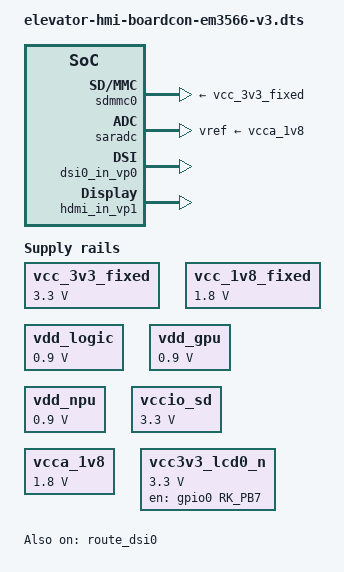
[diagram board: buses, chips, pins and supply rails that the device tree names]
// SPDX-License-Identifier: (GPL-2.0 OR MIT)
/*
 * Elevator HMI — Boardcon EM3566 v3 reference + LMT101SX006C (JD9365) on MIPI-DSI0.
 *
 * Extends the Rockchip BSP baseline:
 *   arch/arm64/boot/dts/rockchip/rk3566-evb2-lp4x-v10-linux.dts
 * from the linux-rockchip_6.1 kernel (SRCREV in meta-rockchip linux-rockchip_6.1.bb
 * at the kas-pinned commit).
 *
 * Panel overlay: elevator-hmi-lmt101sx006c-panel.dtsi (replaces stock EVB
 * simple-panel-dsi child under &dsi0).
 */

/dts-v1/;

#include "rk3566-evb2-lp4x-v10-linux.dts"
#include "elevator-hmi-lmt101sx006c-panel.dtsi"
#include <dt-bindings/gpio/gpio.h>
#include <dt-bindings/pinctrl/rockchip.h>

/*
 * TASK-120 / TASK-119 / TASK-133: CM3566 has no functioning RK809 at 0x20 on this bring-up.
 * rk3568-evb.dtsi still defines PMIC regulators — delete the nodes we replace with board
 * `regulator-fixed` rails. **TASK-133:** restore **`/delete-node/ LDO_REG7`** so
 * **`vcca_1v8`** is never bound to a ghost PMIC rail (fixes DSI **`-517`** defer loops
 * seen after TASK-130). Board-scope **`vcca_1v8`** below matches TASK-129.
 */
&rk809 {
	regulators {
		/delete-node/ DCDC_REG1;
		/delete-node/ DCDC_REG2;
		/delete-node/ DCDC_REG4;
		/delete-node/ LDO_REG5;
		/delete-node/ LDO_REG7;
	};
};

/*
 * TASK-117: rk3568-linux.dtsi hardcodes root=PARTUUID=614e0000-0000; WIC rootfs is
 * /dev/mmcblk0p2. Override chosen.bootargs in this board DTB (kernel uses DT chosen).
 */
/ {
	chosen {
		bootargs = "earlycon=uart8250,mmio32,0xfe660000 console=ttyFIQ0 console=ttyS2,1500000 root=/dev/mmcblk0p2 rw rootfstype=ext4 rootwait";
	};

	/* TASK-119: CM3566 — pmu_io_domains cannot use PMIC supplies. */
	vcc_3v3_fixed: regulator-vcc3v3 {
		compatible = "regulator-fixed";
		regulator-name = "vcc_3v3_fixed";
		regulator-always-on;
		regulator-boot-on;
		regulator-min-microvolt = <3300000>;
		regulator-max-microvolt = <3300000>;
	};

	vcc_1v8_fixed: regulator-vcc1v8 {
		compatible = "regulator-fixed";
		regulator-name = "vcc_1v8_fixed";
		regulator-always-on;
		regulator-boot-on;
		regulator-min-microvolt = <1800000>;
		regulator-max-microvolt = <1800000>;
	};

	/* TASK-120: replace PMIC rails inherited from rk3568-evb (see &rk809 delete-node). */
	vdd_logic: regulator-vdd-logic {
		compatible = "regulator-fixed";
		regulator-name = "vdd_logic";
		regulator-always-on;
		regulator-boot-on;
		regulator-min-microvolt = <900000>;
		regulator-max-microvolt = <900000>;
	};

	vdd_gpu: regulator-vdd-gpu {
		compatible = "regulator-fixed";
		regulator-name = "vdd_gpu";
		regulator-always-on;
		regulator-boot-on;
		regulator-min-microvolt = <900000>;
		regulator-max-microvolt = <900000>;
	};

	vdd_npu: regulator-vdd-npu {
		compatible = "regulator-fixed";
		regulator-name = "vdd_npu";
		regulator-always-on;
		regulator-boot-on;
		regulator-min-microvolt = <900000>;
		regulator-max-microvolt = <900000>;
	};

	vccio_sd: regulator-vccio-sd {
		compatible = "regulator-fixed";
		regulator-name = "vccio_sd";
		regulator-always-on;
		regulator-boot-on;
		regulator-min-microvolt = <3300000>;
		regulator-max-microvolt = <3300000>;
	};

	/* TASK-133: 1.8 V analog / DSI PHY rail — board fixed; PMIC LDO_REG7 deleted above. */
	vcca_1v8: regulator-vcca-1v8 {
		compatible = "regulator-fixed";
		regulator-name = "vcca_1v8";
		regulator-always-on;
		regulator-boot-on;
		regulator-min-microvolt = <1800000>;
		regulator-max-microvolt = <1800000>;
	};
};

&pmu_io_domains {
	status = "okay";
	pmuio1-supply = <&vcc_3v3_fixed>;
	pmuio2-supply = <&vcc_3v3_fixed>;
	vccio1-supply = <&vcc_1v8_fixed>;
	vccio2-supply = <&vcc_1v8_fixed>;
	vccio3-supply = <&vcc_3v3_fixed>;
	vccio4-supply = <&vcc_1v8_fixed>;
	vccio5-supply = <&vcc_3v3_fixed>;
	vccio6-supply = <&vcc_3v3_fixed>;
	vccio7-supply = <&vcc_3v3_fixed>;
};

&vop {
	vop-supply = <&vdd_logic>;
};

&gpu {
	mali-supply = <&vdd_gpu>;
};

&rknpu {
	rknpu-supply = <&vdd_npu>;
};

&rkvenc {
	venc-supply = <&vdd_logic>;
};

&rkvdec {
	vdec-supply = <&vdd_logic>;
};

&dmc {
	center-supply = <&vdd_logic>;
};

/*
 * SD / TF card slot — sdmmc0 is fe2b0000 on RK3566 (fe2c0000 is sdmmc1/SDIO).
 *
 * rk3568-evb.dtsi wires vmmc-supply to the RK809 PMIC rail vcc3v3_sd
 * (SWITCH_REG2). This board has NO functioning RK809 at 0x20 (see the &rk809
 * deletions at the top of this file), so that regulator never appears and the
 * controller sits in "deferred probe pending" forever:
 *     platform fe2b0000.mmc: deferred probe pending
 * The slot is silent, /dev/mmcblk1 never appears, and the HMI video pane shows
 * NO CARD no matter what is inserted. Point vmmc at the board's fixed 3.3 V
 * rail instead. (vqmmc/vccio_sd is already a board regulator-fixed.)
 *
 * sd-uhs-sdr104 is deleted with it: UHS SDR104 requires switching vqmmc from
 * 3.3 V down to 1.8 V, and vccio_sd here is a FIXED 3.3 V supply that cannot.
 * Leaving it advertised makes the core attempt a voltage switch that cannot
 * succeed. High-speed (50 MHz, ~25 MB/s) remains, which is ~20x what the
 * ~1.2 MB/s MJPEG demo clip needs.
 */
&sdmmc0 {
	vmmc-supply = <&vcc_3v3_fixed>;
	vqmmc-supply = <&vccio_sd>;
	/delete-property/ sd-uhs-sdr104;
};

&saradc {
	vref-supply = <&vcca_1v8>;
};

/*
 * EM3566 v3 VCC3V3_LCD (CON1 pins 5/6): PWM0_M0 → R457 → Q18 (NPN) → Q17 (P-MOSFET).
 * SoM pin 140 / GPIO0_B7 — logic HIGH turns the rail ON (not RK_EVB GPIO0_C7).
 * No pinctrl-0 here (gpiod muxes the line); pinctrl on regulator-fixed provoked
 * DSI/panel **-517** defer storms with backlight **power-supply** (TASK-131 class).
 * Omit vin-supply on this node.
 */
&vcc3v3_lcd0_n {
	status = "okay";
	gpio = <&gpio0 RK_PB7 GPIO_ACTIVE_HIGH>;
	enable-active-high;
	regulator-always-on;
	regulator-boot-on;
	regulator-min-microvolt = <3300000>;
	regulator-max-microvolt = <3300000>;
};

/* BSP rk3566-evb2 repurposes RK_PB7 as work_led — conflicts with PWM0_M0 LCD rail. */
&work_led {
	status = "disabled";
};

/*
 * Panel XRES: gpio0 RK_PC6 (TOUCH_RST, CON1 pin 11, gpiochip0 line 22).
 * SPI0_CS0_M0 shares PC6 — disable SPI0 so jadard owns the reset line.
 * VCC3V3_LCD switch: RK_PB7 (PWM0_M0), not PC7. `gt1x` off.
 */
&spi0 {
	status = "disabled";
};

&gt1x {
	status = "disabled";
};

/*
 * TASK-141: XRES (gpio0 RK_PC6, CON1 pin 11) scope finding — the release edge
 * could not pull the line back HIGH into the *connected* panel load, while it
 * toggled cleanly with the panel disconnected. With spi0/gt1x disabled, PC6
 * reverts to its reset-default pad config (weakest drive strength), which is
 * too weak to win against the panel/harness reset net. Force GPIO function with
 * MAX drive strength (level 15) + pull-up so the SoC actively drives XRES high.
 * The jadard driver still owns the line via gpiod (reset-gpios in the panel
 * dtsi); pinctrl only fixes the pad electrical config, not ownership.
 */
&pinctrl {
	lcd {
		lcd_rst_pin: lcd-rst-pin {
			rockchip,pins = <0 RK_PC6 RK_FUNC_GPIO &pcfg_pull_up_drv_level_15>;
		};
	};
};

/*
 * Omit power-supply on pwm-backlight — linking to vcc3v3_lcd0_n caused panel/DSI
 * **-517** defer/rebind loops on EM3566 v3 (same class as TASK-131 vin-supply).
 * Dummy regulator warning in dmesg is acceptable for bring-up.
 */
&backlight {
	/delete-property/ power-supply;
};

&backlight1 {
	/delete-property/ power-supply;
};

/*
 * BLK-015 — move the DSI panel from Video Port 1 to Video Port 0.
 *
 * WHY: we inherit the Rockchip EVB's video-port assignment, which hands VP0 to
 * HDMI and pushes the DSI panel onto VP1:
 *     rk3566-evb2-lp4x-v10.dtsi:190  &dsi0_in_vp0 { status = "disabled"; };
 *     rk3566-evb2-lp4x-v10.dtsi:194  &dsi0_in_vp1 { status = "okay";     };
 *     rk3566-evb2-lp4x-v10.dtsi:541  &route_dsi0  { connect = <&vp1_out_dsi0>; };
 *     rk3568-evb.dtsi:1077           &hdmi_in_vp0 { status = "okay";     };
 * That is right for the EVB, which ships an HDMI display. It is wrong for this
 * product, which has no HDMI at all and only the LMT101 on DSI0.
 *
 * Boardcon's OWN device tree for this board does the opposite. Decompiled from
 * their shipped image (library/EM3566/Linux6.1/Image/update-buildroot-lvds.img):
 *     VP0 = dsi0, dsi1, edp
 *     VP1 = hdmi, lvds
 *
 * And VP1 is exactly where BLK-015 lives: plane commits are accepted, page
 * flips complete at 60 Hz, the vop2 driver logs the correct scanout address
 * every frame — and the hardware never latches it. Only writes into the buffer
 * latched at boot reach the glass. modetest with a plain dumb buffer fails
 * identically to Qt, so it is below all of our userspace.
 *
 * This has NOT yet been confirmed to fix BLK-015 — the board was powered off
 * when this was written. It is a single-variable change with a cheap kill test:
 *     modetest -M rockchip -s <connector>@<crtc>:800x1280
 * If a test pattern appears on glass, KMS scanout works and the whole linuxfb /
 * software-decode detour can be unwound (EGLFS + Mali + VPU video).
 *
 * HDMI is moved to VP1 rather than deleted, mirroring the vendor. It costs
 * nothing on a product with no HDMI connector, and it keeps the port usable as
 * a diagnostic: if VP1 turns out to be broken for HDMI too, that is a strong
 * signal to take to Boardcon/Rockchip.
 */
&dsi0_in_vp0 {
	status = "okay";
};

&dsi0_in_vp1 {
	status = "disabled";
};

&route_dsi0 {
	status = "okay";
	connect = <&vp0_out_dsi0>;
};

&hdmi_in_vp0 {
	status = "disabled";
};

&hdmi_in_vp1 {
	status = "okay";
};

&route_hdmi {
	connect = <&vp1_out_hdmi>;
};
